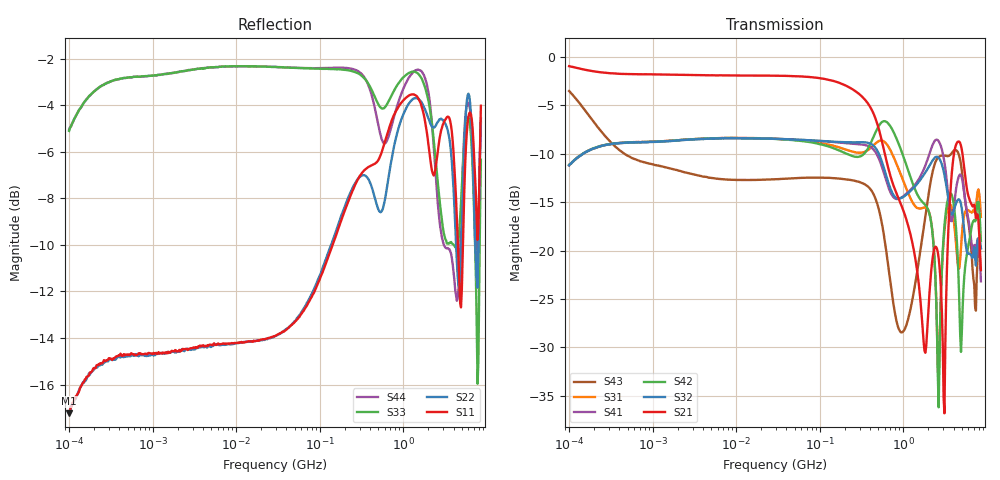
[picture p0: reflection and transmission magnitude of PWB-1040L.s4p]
# MHz S MA R 50
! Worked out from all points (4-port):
!   498 points, 100 kHz to 8.5 GHz, reference 50 ohm
!   strongest paths, dB at 100 kHz, 1.698 MHz, 29.49 MHz, 500.7 MHz, 8.5 GHz:
!     S21: -0.9, -1.8, -1.9, -7.2, -22.0
!     S32: -11.2, -8.7, -8.4, -9.8, -19.8
!     S42: -11.1, -8.7, -8.5, -7.2, -19.0
!     S41: -11.2, -8.7, -8.4, -10.3, -23.2
!     S31: -11.2, -8.6, -8.4, -8.7, -16.5
!     S43: -3.5, -11.6, -12.6, -15.5, -19.7
!   lowest |S11| = -17.2 dB at 100 kHz (marker M1), VSWR 1.32, Z = 60.4 + j11.1 ohm
!   |S11| at or under -10 dB: start of sweep to 142.8 MHz; 4.513 GHz to 5.179 GHz (665.7 MHz wide, 13.7 % of centre)
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0.1  0.1375 41.1  0.897 -5.9  0.2766 41.1  0.2752 -139.1
     0.897 -5.9  0.1384 43.7  0.2763 -139.5  0.2774 40.4
     0.2766 41.1  0.2763 -139.5  0.5555 39.4  0.6674 -32.1
     0.2752 -139.1  0.2774 40.4  0.6674 -32.1  0.5589 39.3
183.289  0.3594 13.9  0.7273 -44.5  0.3381 -25.9  0.3607 127.5
         0.7273 -44.5  0.3672 10.7  0.3638 128.4  0.3249 -24.5
         0.3381 -25.9  0.3638 128.4  0.7521 -20.0  0.2349 -45.4
         0.3607 127.5  0.3249 -24.5  0.2349 -45.4  0.7589 -21.7
1798.752  0.591 -161.1  0.03032 174.3  0.1672 173.0  0.2688 -110.7
          0.03032 174.3  0.6209 -154.5  0.2496 -118.2  0.1738 154.2
          0.1672 173.0  0.2496 -118.2  0.6941 -167.9  0.1415 -49.5
          0.2688 -110.7  0.1738 154.2  0.1415 -49.5  0.7263 -166.6
2652.059  0.5184 174.5  0.0917 116.9  0.01969 133.0  0.3678 127.1
          0.0917 116.9  0.5845 163.8  0.3015 127.8  0.01552 117.8
          0.01969 133.0  0.3015 127.8  0.4128 143.1  0.3042 -176.2
          0.3678 127.1  0.01552 117.8  0.3042 -176.2  0.3715 144.9
3257.229  0.5904 98.5  0.05456 -180.0  0.1508 109.8  0.2473 41.5
          0.05456 -180.0  0.5708 89.8  0.2205 48.4  0.1624 93.9
          0.1508 109.8  0.2205 48.4  0.3234 87.4  0.3084 106.3
          0.2473 41.5  0.1624 93.9  0.3084 106.3  0.311 91.2
7080.634  0.4802 -162.7  0.173 67.4  0.1605 83.1  0.107 47.8
          0.173 67.4  0.3748 176.5  0.1043 69.7  0.1441 65.8
          0.1605 83.1  0.1043 69.7  0.3661 -167.3  0.06651 68.0
          0.107 47.8  0.1441 65.8  0.06651 68.0  0.432 -170.8
8500  0.6291 -34.3  0.0794 -104.2  0.1494 -86.7  0.06947 -119.3
      0.0794 -104.2  0.5786 -51.5  0.1026 -79.8  0.1122 -112.2
      0.1494 -86.7  0.1026 -79.8  0.4816 -31.7  0.1032 -58.0
      0.06947 -119.3  0.1122 -112.2  0.1032 -58.0  0.5908 -41.9
